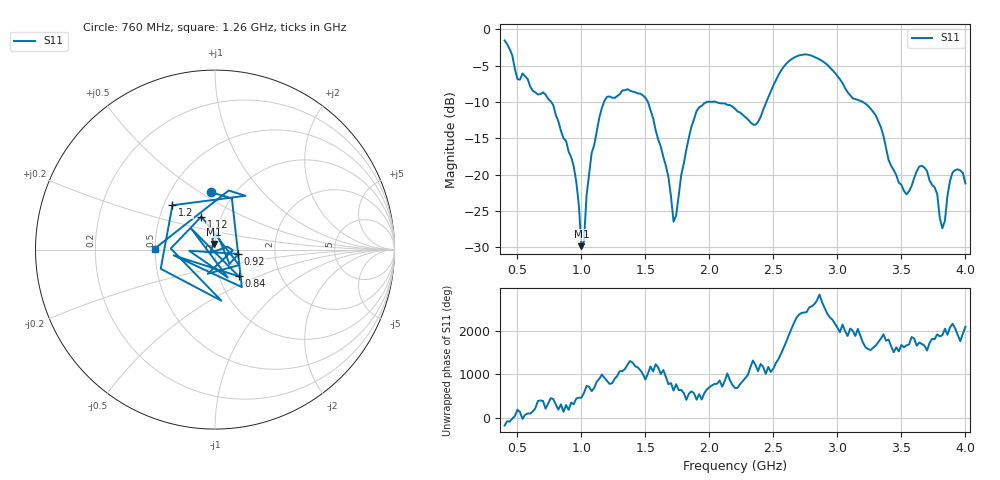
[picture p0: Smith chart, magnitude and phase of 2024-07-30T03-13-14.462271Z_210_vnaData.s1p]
!Created with skrf (http://scikit-rf.org).
# Hz S RI R 50.0
!freq ReS11 ImS11
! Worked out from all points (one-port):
!   181 points, 400 MHz to 4 GHz, reference 50 ohm
!   lowest |S11| = -29.9 dB at 1 GHz (marker M1), VSWR 1.07, Z = 49.2 + j3.08 ohm
!   |S11| at or under -10 dB: 763 MHz to 1.177 GHz (414.5 MHz wide, 42.7 % of centre); 1.52 GHz to 1.98 GHz (460.3 MHz wide, 26.3 % of centre); 3.197 GHz to end of sweep (the widest 3 of 5)
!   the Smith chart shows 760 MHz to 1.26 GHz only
!   S11 on the Smith chart (normalised r, x): 760 MHz: 0.79, +0.56; 840 MHz: 1.24, -0.39; 920 MHz: 1.30, -0.06; 1.12 GHz: 0.81, +0.31; 1.2 GHz: 0.55, +0.31; 1.26 GHz: 0.50, +0.01
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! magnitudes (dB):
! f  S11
! 400 MHz  -1.6
! 500 MHz  -6.9
! 760 MHz  -9.9
! 840 MHz  -14.0
! 860 MHz  -15.0
! 920 MHz  -17.6
! 960 MHz  -21.0
! 1 GHz  -29.9
! 1.12 GHz  -14.0
! 1.2 GHz  -9.3
! 1.26 GHz  -9.5
! 1.3 GHz  -8.9
! 1.52 GHz  -10.0
! 1.68 GHz  -20.4
! 1.72 GHz  -26.5
! 1.76 GHz  -22.9
! 1.9 GHz  -11.3
! 2.2 GHz  -10.9
! 2.36 GHz  -13.2
! 2.66 GHz  -3.9
! 3.1 GHz  -9.1
! 3.3 GHz  -11.9
! 3.56 GHz  -22.3
! 3.68 GHz  -19.0
! 3.78 GHz  -22.7
! 3.82 GHz  -27.4
! 3.9 GHz  -19.7
! 4 GHz  -21.2
